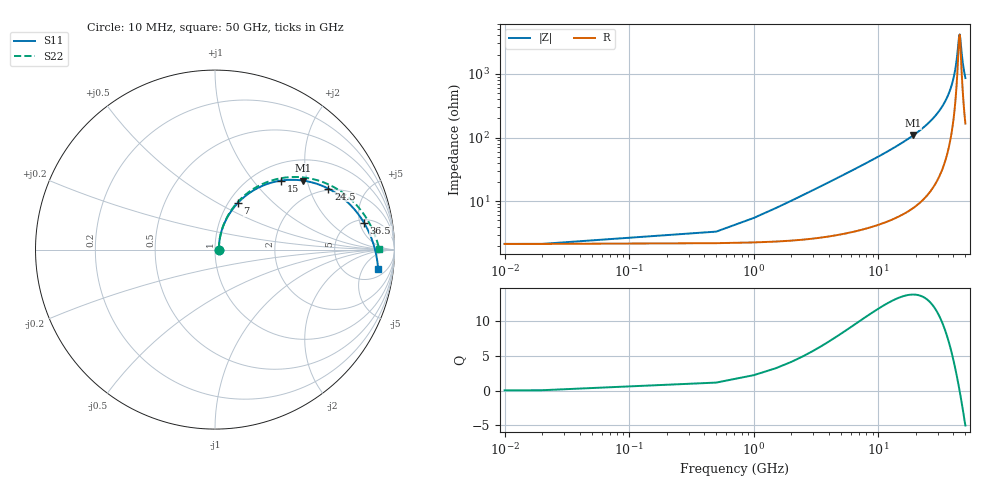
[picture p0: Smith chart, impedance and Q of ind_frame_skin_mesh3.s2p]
! Created with skrf 2.1.0 (http://scikit-rf.org).
# GHz S DB R 50.0
! Port[1] = P1
! Port[2] = P2
!freq dBS11 angS11 dBS21 angS21 dBS12 angS12 dBS22 angS22
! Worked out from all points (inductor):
!   102 points, 10 MHz to 50 GHz, reference 50 ohm
!   read as 1/Y11, port 2 shorted: L = 787 pH near 1.5 GHz
!   highest Q = 13.8 at 19 GHz (marker M1), where L = 900 pH
!   self-resonance near 44.5 GHz
!   S11 on the Smith chart (normalised r, x): 10 MHz: 1.04, +0.00; 7 GHz: 1.10, +0.62; 15 GHz: 1.31, +1.41; 24.5 GHz: 1.94, +2.70; 36.5 GHz: 5.65, +5.85; 50 GHz: 8, -11
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0.01  -33.56 1.2  -0.18 -0.0  -0.18 -0.0  -33.56 1.2
0.5  -30.23 44.4  -0.19 -1.6  -0.19 -1.6  -30.23 44.4
1  -26.21 60.7  -0.21 -3.1  -0.21 -3.1  -26.20 60.8
1.5  -23.20 66.9  -0.23 -4.6  -0.23 -4.6  -23.20 67.1
2  -20.92 69.6  -0.25 -6.1  -0.25 -6.1  -20.92 69.7
2.5  -19.10 70.6  -0.28 -7.5  -0.28 -7.5  -19.11 70.8
3.5  -16.35 70.4  -0.34 -10.4  -0.34 -10.4  -16.35 70.8
4.5  -14.30 69.1  -0.43 -13.2  -0.43 -13.2  -14.31 69.6
5.5  -12.69 67.2  -0.52 -16.0  -0.52 -16.0  -12.70 67.8
7  -10.81 64.0  -0.68 -20.0  -0.68 -20.0  -10.82 64.8
8.5  -9.34 60.6  -0.87 -23.9  -0.87 -23.9  -9.35 61.6
11.5  -7.18 53.8  -1.30 -31.2  -1.30 -31.2  -7.19 55.1
15  -5.46 46.2  -1.88 -39.1  -1.88 -39.1  -5.48 48.0
17  -4.73 42.1  -2.24 -43.3  -2.24 -43.3  -4.74 44.1
19  -4.12 38.2  -2.62 -47.3  -2.62 -47.3  -4.13 40.5
24.5  -2.89 28.3  -3.71 -57.2  -3.71 -57.2  -2.90 31.3
25.5  -2.72 26.6  -3.91 -58.9  -3.91 -58.9  -2.73 29.8
29.5  -2.16 20.2  -4.74 -65.1  -4.74 -65.1  -2.17 24.0
33.5  -1.73 14.4  -5.58 -70.9  -5.58 -70.9  -1.74 18.7
36.5  -1.48 10.2  -6.21 -74.9  -6.21 -74.9  -1.49 15.0
42  -1.12 3.0  -7.41 -81.8  -7.41 -81.8  -1.13 8.6
50  -0.77 -6.8  -9.22 -91.0  -9.22 -91.0  -0.77 0.2
